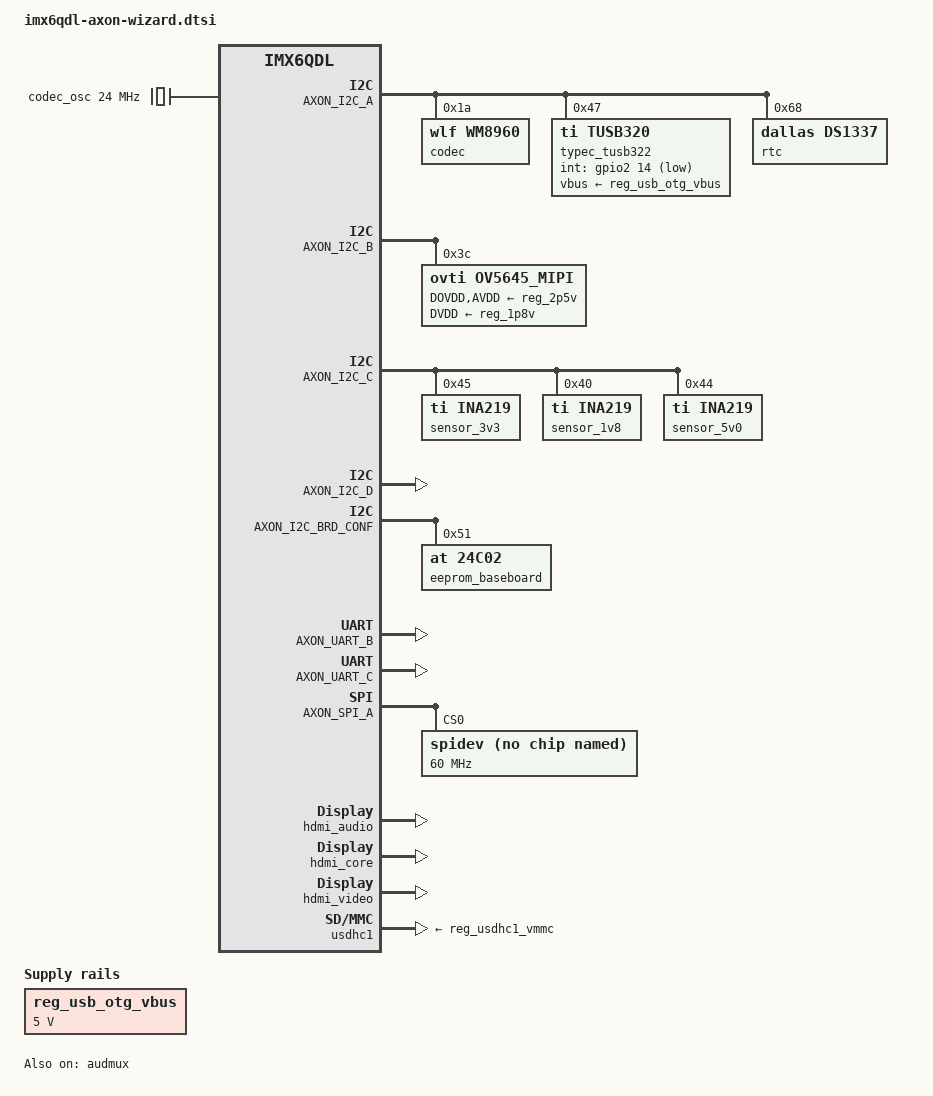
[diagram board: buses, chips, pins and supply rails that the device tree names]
/*
 * Copyright 2019 Technexion Ltd.
 *
 * Author: Tapani Utriainen <tapani@technexion.com>
 *         Richard Hu <richard.hu@technexion.com>
 *         John Weber <john.weber@technexion.com>
 *
 * This program is free software; you can redistribute it and/or modify
 * it under the terms of the GNU General Public License version 2 as
 * published by the Free Software Foundation.
 *
 */

#include "imx6qdl-axon.dtsi"
#include <dt-bindings/sound/fsl-imx-audmux.h>
#include "tnmacro.h"

/ {

	aliases {
		i2c0 = &AXON_I2C_A;
		i2c1 = &AXON_I2C_B;
		i2c2 = &AXON_I2C_C;
		i2c3 = &AXON_I2C_D;
		i2c4 = &AXON_I2C_BRD_CONF;
		uart0 = &AXON_UART_A;
		uart1 = &AXON_UART_B;
		uart3 = &AXON_UART_C;
		uart4 = &AXON_UART_BT;
    };

	regulators {

		reg_usb_otg_vbus: usb_otg_vbus {
			pinctrl-names = "default";
			pinctrl-0 = <&pinctrl_otg_vbus>;
			compatible = "regulator-fixed";
			regulator-name = "usb_otg_vbus";
			regulator-min-microvolt = <5000000>;
			regulator-max-microvolt = <5000000>;
			gpio = <AXON_EXT_GPIO_X1_P66 GPIO_ACTIVE_LOW>;
			enable-active-low;
		};
	};

	sound-hdmi {
		status = "okay";
	};

	backlight_lvds {
		status = "disabled";
	};

	sound_wm8960: sound-wm8960 {
		compatible = "fsl,imx-audio-wm8960";
		model = "wm8960-audio";
		cpu-dai = <&AXON_AUD_A_I2S_CHANNEL>;
		codec-master;
		audio-codec = <&codec>;
		mux-int-port = <1>;
		mux-ext-port = <3>;
		audio-routing =
			"Headphone Jack", "HP_L",
			"Headphone Jack", "HP_R",
			"Ext Spk", "SPK_LP",
			"Ext Spk", "SPK_LN",
			"Ext Spk", "SPK_RP",
			"Ext Spk", "SPK_RN",
			"LINPUT1", "Main MIC",
			"RINPUT1", "Main MIC",
			"Main MIC", "MICB";
		/* JD2: hp detect high for headphone*/
		hp-det = <2 0>;
	};

	clocks {
		codec_osc: aud_mclk {
			compatible = "fixed-clock";
			#clock-cells = <0>;
			clock-frequency = <24000000>;
			clock-output-names = "wm8960-mclk";
		};
	};

	/* Turn off LCD interface as we do not support this on Axon-Pi */
	lcd@0 {
		status = "disabled";
	};
};

&iomuxc {
	imx6qdl-axon {

		pinctrl_otg_vbus: otgvbusgrp {
			fsl,pins = <
				MX6QDL_PAD_EIM_A24__GPIO5_IO04	    0x4001b0b5  /* GPIO_X1_P66 */
			>;
		};

		pinctrl_tusb320_irq: tusb320_irqgrp {
			fsl,pins = <
				MX6QDL_PAD_SD4_DAT6__GPIO2_IO14		0x1b000
			>;
		};
	};
};

&pinmux_axonfabric {

	pinctrl_af_user_led: pcuserled {
		pins = "F_GPIO_X1_P70"; function = "gpio"; drive-push-pull;
	};

	pinctrl_af_user_pb: pcuserpb {
		pins = "F_GPIO_X1_P72"; function = "gpio"; drive-open-drain;
	};

	pinctrl_af_otg_vbus_en: pcotgvbusen {
		pins = "F_GPIO_X1_P66"; function = "passthru_out"; drive-push-pull;
	};

	pinctrl_af_tusb320_irq: pctusb320irq {
		pins = "F_UART_B_CTS"; function = "passthru_in"; drive-push-pull;
	};

	pinctrl_af_csi_ctrl: pccsictrl {
		pins = "F_GPIO_X3_P65", "F_GPIO_X3_P67";
		function = "passthru_out";
		drive-open-drain;
	};

	pinctrl_af_csi_clk: pccsiclk {
		pins = "F_GPIO_X3_P69"; function = "passthru_out"; drive-push-pull;
	};

	pinctrl_af_disp_gpio: pcdispgpio {
		pins = "F_DISP_DAT00", "F_DISP_DAT01", "F_DISP_DAT02", "F_DISP_DAT03",
		"F_DISP_DAT04", "F_DISP_DAT05", "F_DISP_DAT06", "F_DISP_DAT07",
		"F_DISP_DAT08", "F_DISP_DAT09", "F_DISP_DAT10", "F_DISP_DAT11",
		"F_DISP_DAT12", "F_DISP_DAT13", "F_DISP_DAT14", "F_DISP_DAT15",
		"F_DISP_DAT16", "F_DISP_DAT17", "F_DISP_DAT18", "F_DISP_DAT19",
		"F_DISP_DAT20", "F_DISP_DAT21", "F_DISP_DAT22", "F_DISP_DAT23",
		"F_DISP_HSYNC", "F_DISP_VSYNC", "F_DISP_CLK", "F_DISP_BKLEN",
		"F_DISP_DRDY";
		function = "gpio"; drive-push-pull;
	};

	// PWM
	pinctrl_af_pwm_x1_x2: pcafpwmx1x2 {
		pins = "F_PWM_X1_P39", "F_PWM_X2_P79";
		function = "passthru_out"; drive-push-pull;
	};

	// Audio A
	pinctrl_af_aud_a_out: pcafauda_out {
		pins = "F_AUD_A_TXD"; function = "passthru_out"; drive-push-pull;
	};

	pinctrl_af_aud_a_in: pcafauda_in {
		pins = "F_AUD_A_RXD", "F_AUD_A_TXFS", "F_AUD_A_TXCLK";
		function = "passthru_in"; drive-push-pull;
	};

	// Audio B - use as GPIO
	pinctrl_af_aud_b_gpio: pcafaudb_gpio {
		pins = "F_AUD_B_TXD", "F_AUD_B_RXD", "F_AUD_B_TXFS", "F_AUD_B_TXCLK",
		"F_AUD_B_RXFS", "F_AUD_B_RXCLK", "F_AUD_B_MCLK" ;
		function = "gpio"; drive-push-pull;
	};

	// CAN_A/B - use as GPIO
	pinctrl_af_can_gpio: pcafcan_gpio {
		pins = "F_CAN_A_TX", "F_CAN_A_RX", "F_CAN_B_TX", "F_CAN_B_RX";
		function = "gpio"; drive-push-pull;
	};

	// UART_A RTS and CTS - use as GPIO
	pinctrl_af_uart_a_rtscts: pcafuartartscts {
		pins = "F_UART_A_RTS", "F_UART_A_CTS"; function="gpio";
		drive-push-pull;
	};

	// UART_B_RTS - use as RTC DS1337+ interrupt
	pinctrl_af_ds1337_rtc_irq: pcafds1337rtcirq {
		pins = "F_UART_B_RTS"; function="passthru_in";
		drive-push-pull;
	};
};

&audmux {
	status = "okay";

	/* Source port */
	ssi1 {
		fsl,audmux-port = <0>;
		fsl,port-config = <
			(IMX_AUDMUX_V2_PTCR_TFSDIR |
			IMX_AUDMUX_V2_PTCR_TFSEL(2) |
			IMX_AUDMUX_V2_PTCR_TCLKDIR |
			IMX_AUDMUX_V2_PTCR_TCSEL(2) |
			IMX_AUDMUX_V2_PTCR_SYN)
			IMX_AUDMUX_V2_PDCR_RXDSEL(2)
		>;
	};

	/* External port */
	pins3 {
		fsl,audmux-port = <2>;
		fsl,port-config = <
			IMX_AUDMUX_V2_PTCR_SYN
			IMX_AUDMUX_V2_PDCR_RXDSEL(0)
        >;
	};
};

&AXON_I2C_A {
	status = "okay";

	codec: wm8960@1a {
		compatible = "wlf,wm8960";
		reg = <0x1a>;
		#sound-dai-cells = <0>;
		clocks = <&codec_osc>;  /* Note:  AXON-PI the clock is external osc */
		clock-names = "mclk";
		wlf,shared-lrclk;
		wlf,fixed-mclk;
	};

	typec_tusb322:tusb320@47 {
		compatible = "ti,tusb320";
		pinctrl-names = "default";
		pinctrl-0 = <&pinctrl_tusb320_irq>;
		reg = <0x47>;
		vbus-supply = <&reg_usb_otg_vbus>;
		tusb320,int-gpio = <&gpio2 14 GPIO_ACTIVE_LOW>;
		tusb320,select-mode = <0>;
		tusb320,dfp-power = <0>;
	};

	rtc: ds1337 {
		compatible = "dallas,ds1337";
		reg = <0x68>;
	};
};

&AXON_I2C_B {
  status = "okay";
	ov5645_mipi: ov5645_mipi@3c {
		compatible = "ovti,ov5645_mipi";
		pinctrl-names = "default";
		pinctrl-0 = <&pinctrl_mipi_csi>;
		reg = <0x3c>;
		clocks = <&clks IMX6QDL_CLK_CKO2>;
		clock-names = "csi_mclk";
//		assigned-clocks = <&clks IMX6QDL_CLK_CKO2>;
//		assigned-clock-parents = <&clks IMX8MQ_SYS2_PLL_200M>;
//		assigned-clock-rates = <24000000>;
		DOVDD-supply = <&reg_2p5v>;
		AVDD-supply = <&reg_2p5v>;
		DVDD-supply = <&reg_1p8v>;
		pwn-gpios = <AXON_EXT_GPIO_X3_P67 GPIO_ACTIVE_HIGH>;
		rst-gpios = <AXON_EXT_GPIO_X3_P65 GPIO_ACTIVE_LOW>;
		ipu_id = <0>;
		csi_id = <0>;
		mclk = <24000000>;
		mclk_source = <0>;
	};
};

&AXON_I2C_C {
	status = "okay";

	/* Power monitor for 3.3V SOM output supply */
	sensor_3v3:ina219_3v3@45 {
		compatible = "ti,ina219";
		reg = <0x45>;
		shunt-resistor = <200000>; /* .2 Ohm resistor = 200000 uOhms*/
	};

	/* Power monitor for 1.8V SOM output supply */
	sensor_1v8:ina219_1v8@40 {
		compatible = "ti,ina219";
		reg = <0x40>;
		shunt-resistor = <200000>; /* .2 Ohm resistor = 200000 uOhms*/
	};

	/* Power monitor for 5V SOM input supply */
	sensor_5v0:ina219_5v0@44 {
		compatible = "ti,ina219";
		reg = <0x44>;
		shunt-resistor = <200000>; /* .2 Ohm resistor = 200000 uOhms*/
	};
};

&AXON_I2C_D {
	status = "okay";
};

&AXON_I2C_BRD_CONF {
	status = "okay";

	eeprom_baseboard: eeprom@51 {
		compatible = "at,24c02";
		reg = <0x51>;
	};
};

&AXON_UART_B {
	status = "okay";
};

&AXON_UART_C {
	pinctrl-0 = <&pinctrl_axon_uart_c_rtscts>;
	fsl,uart-has-rtscts;
	status = "okay";
};

&AXON_CAN_A {
	status = "disabled";
};

&AXON_CAN_B {
	status = "disabled";
};

&AXON_SPI_A {
	status = "okay";

	spidev@1 {
		compatible = "rohm,dh2228fv";
		spi-max-frequency = <60000000>;
		reg = <0>;
	};
};

&ldb {
	status = "disabled";
};

&hdmi_audio {
	status = "okay";
};

&hdmi_core {
	status = "okay";
};

&hdmi_video {
	status = "okay";
};

/* Baseboard microSD slot */
&reg_usdhc1_vmmc {
	status = "okay";
};

&usdhc1 {
	vmmc-supply = <&reg_usdhc1_vmmc>;
	status = "okay";
};

&pcie {
	status = "disabled";
};

